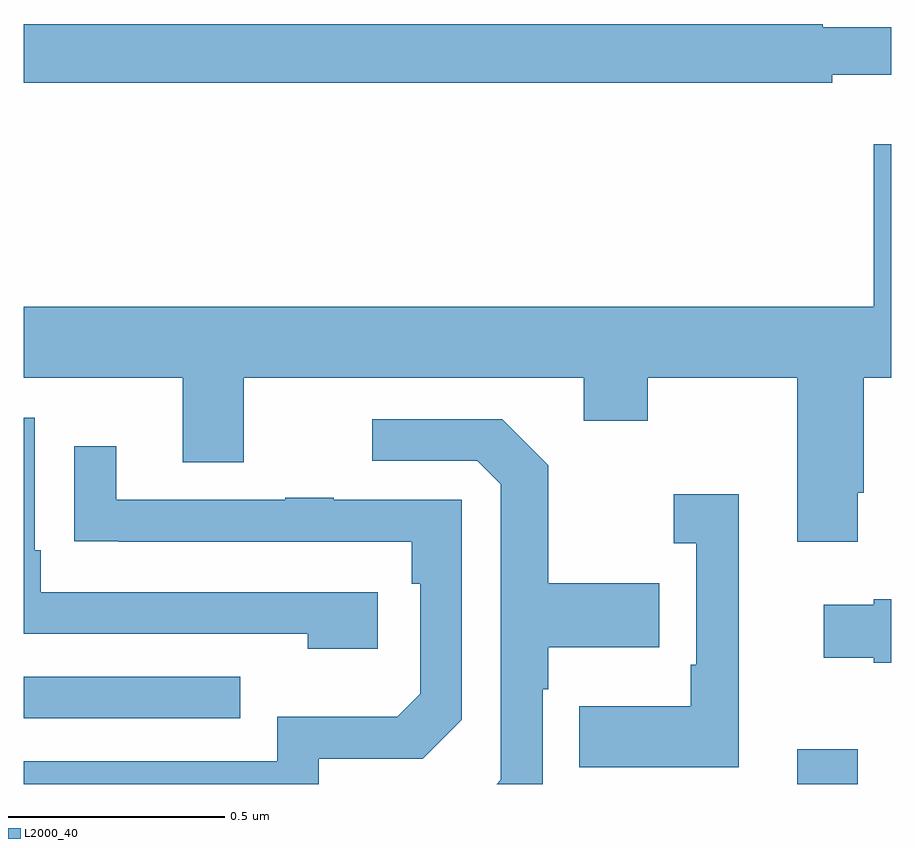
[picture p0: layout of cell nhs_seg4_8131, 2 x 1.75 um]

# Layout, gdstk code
import gdstk
lib = gdstk.Library(unit=1e-6, precision=1e-09)
def R(c, l, rs):  # rectangles x0, y0, x1, y1
    for r in rs: c.add(gdstk.rectangle(r[:2], r[2:], *l))
def P(c, l, *ps):  # polygons
    for p in ps: c.add(gdstk.Polygon(p, *l))
L2000_40 = (2000, 40)

nhs_seg4_8131 = lib.new_cell('nhs_seg4_8131')
R(nhs_seg4_8131, L2000_40, [(212.783,779.9,212.923,779.98), (211,780.051,211.499,780.147)])
P(nhs_seg4_8131, L2000_40, [(212.864,781.535),(213,781.535),(213,781.645),(212.842,781.645),(212.842,781.652),(211,781.652),(211,781.516),(212.864,781.516)],
  [(212.923,780.571),(212.936,780.571),(212.936,780.836),(213,780.836),(213,781.375),(212.96,781.375),(212.96,781),(211,781),(211,780.836),(211.367,780.836),(211.367,780.642),(211.507,780.642),(211.507,780.836),(212.291,780.836),(212.291,780.737),(212.439,780.737),(212.439,780.836),(212.783,780.836),(212.783,780.459),(212.923,780.459)],
  [(211.816,780.342),(211.039,780.342),(211.039,780.439),(211.026,780.439),(211.026,780.744),(211,780.744),(211,780.246),(211.655,780.246),(211.655,780.212),(211.816,780.212)],
  [(212.196,780.119),(212.209,780.119),(212.209,780.215),(212.465,780.215),(212.465,780.363),(212.209,780.363),(212.209,780.635),(212.103,780.741),(211.803,780.741),(211.803,780.645),(212.046,780.645),(212.1,780.591),(212.1,779.91),(212.09,779.9),(212.196,779.9)],
  [(211.68,779.958),(211.92,779.958),(212.01,780.048),(212.01,780.555),(211.715,780.555),(211.715,780.56),(211.603,780.56),(211.603,780.555),(211.213,780.555),(211.213,780.679),(211.117,780.679),(211.117,780.46),(211.219,780.46),(211.219,780.459),(211.894,780.459),(211.894,780.362),(211.914,780.362),(211.914,780.108),(211.861,780.055),(211.584,780.055),(211.584,779.952),(211,779.952),(211,779.9),(211.68,779.9)],
  [(212.648,780.568),(212.499,780.568),(212.499,780.455),(212.55,780.455),(212.55,780.175),(212.538,780.175),(212.538,780.079),(212.281,780.079),(212.281,779.939),(212.648,779.939)],
  [(213,780.326),(212.96,780.326),(212.96,780.313),(212.844,780.313),(212.844,780.191),(212.96,780.191),(212.96,780.179),(213,780.179)])

lib.write_gds('nhs_seg4_8131.gds')
